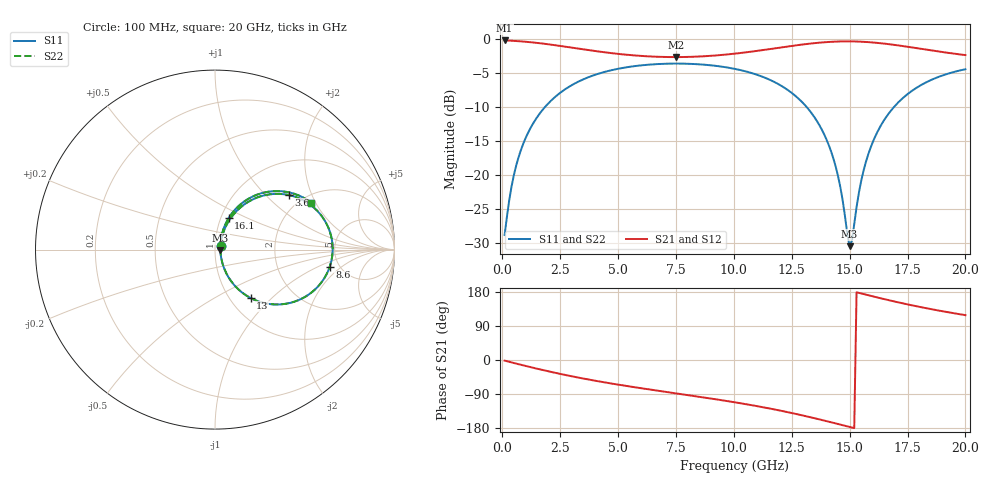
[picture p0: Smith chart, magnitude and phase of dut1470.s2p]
! Touchstone file exported from HFSS 2026.1.0
!  File:  C:/ffzhzh/LocalFiles/Ansys_Project_Files/temp_train_TSV_RDL_1470_1783361686_46376.aedt
!  Generated:  02:25:24 AM Jul  7, 2026
!  Design:  TSV_RDL
!  Project:  temp_train_TSV_RDL_1470_1783361686_46376
! Variables:
!  h_bsmrdl = 2.63um
!  h_ox = 20um
!  h_rdl = 5um
!  h_sub = 56.54um
!  h_tmrdl = 2.13um
!  h_tsv = 56.54um
!  h_via = 3um
!  l_bsmrdl = 993.5um
!  l_sub = 4101.63um
!  l_tmrdl = 157.43um
!  m_sub = 200um
!  pitch = 59.92um
!  r_tsv = 12.56um
!  s_tmrdl = 10um
!  w_bsmrdl = 19.23um
!  w_sub = 500um
!  w_tmrdl = 11.24um
!  x_tsv_center1 = 163.05um
!  x_tsv_center2 = 1175.78um
!  x_tsv_center3 = 1344.45um
!  x_tsv_center4 = 2357.18um
!  x_tsv_center5 = 2525.85um
!  x_tsv_center6 = 3538.58um
# GHz S MA R 50.000000
! Terminal data exported
! Port[1] = TM_RDL1_1_T1
! Port[2] = TM_RDL5_1_T1
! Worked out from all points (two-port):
!   200 points, 100 MHz to 20 GHz, reference 50 ohm
!   highest |S21| = -0.27 dB at 100 MHz (marker M1); lowest = -2.7 dB at 7.5 GHz (marker M2)
!   |S21| within 3 dB of the highest: start of sweep to end of sweep
!   lowest |S11| = -30.5 dB at 15 GHz (marker M3), VSWR 1.06, Z = 53.1 - j0.312 ohm
!   |S11| at or under -10 dB: start of sweep to 1.857 GHz; 13.13 GHz to 16.93 GHz (3.797 GHz wide, 25.3 % of centre)
!   |S22| runs from -30.4 to -3.7 dB; largest |S21 - S12| = 2.7e-14
!   S11 on the Smith chart (normalised r, x): 100 MHz: 1.06, +0.04; 3.6 GHz: 1.68, +1.38; 8.6 GHz: 4.15, -1.40; 13 GHz: 1.24, -0.75; 16.1 GHz: 1.09, +0.39; 20 GHz: 2.26, +1.84
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0.1  0.03608 30.8  0.9694 -1.6  0.9694 -1.6  0.03608 30.8
! Gamma 0 0 0 0
! Port Impedance 50 0 50 0
0.5  0.09945 63.6  0.9627 -8.0  0.9627 -8.0  0.09947 63.6
1.1  0.2013 63.2  0.9454 -17.1  0.9454 -17.1  0.2013 63.2
2.1  0.3496 53.1  0.9034 -31.3  0.9034 -31.3  0.3496 53.1
3.5  0.5024 37.6  0.8341 -48.9  0.8341 -48.9  0.5024 37.6
3.6  0.5109 36.5  0.8293 -50.1  0.8293 -50.1  0.5109 36.5
6.8  0.6514 6.6  0.7347 -81.8  0.7347 -81.8  0.6513 6.6
7.5  0.6556 0.7  0.7316 -88.0  0.7316 -88.0  0.6556 0.7
8.6  0.6458 -8.8  0.7402 -97.9  0.7402 -97.9  0.6458 -8.8
10.1  0.5967 -22.4  0.7774 -112.2  0.7774 -112.2  0.5967 -22.4
11.7  0.4849 -38.8  0.8448 -129.8  0.8448 -129.8  0.4849 -38.8
13  0.3347 -53.7  0.9067 -146.7  0.9067 -146.7  0.3346 -53.7
13.4  0.2769 -58.2  0.9233 -152.4  0.9233 -152.4  0.2769 -58.1
14  0.1818 -63.6  0.9427 -161.2  0.9427 -161.2  0.1818 -63.5
14.4  0.1146 -63.9  0.9509 -167.4  0.9509 -167.4  0.1146 -63.8
15  0.02989 -5.6  0.9546 -176.7  0.9546 -176.7  0.03012 -5.5
15.1  0.03275 25.7  0.9542 -178.2  0.9542 -178.2  0.03298 25.6
15.6  0.1069 66.8  0.9474 174.0  0.9474 174.0  0.107 66.7
16.1  0.1901 66.6  0.9338 166.5  0.9338 166.5  0.1902 66.5
16.7  0.2835 61.0  0.9103 157.7  0.9103 157.7  0.2836 61.0
18.2  0.4674 44.2  0.8357 138.0  0.8357 138.0  0.4674 44.2
20  0.5959 26.1  0.757 118.4  0.757 118.4  0.5959 26.1
